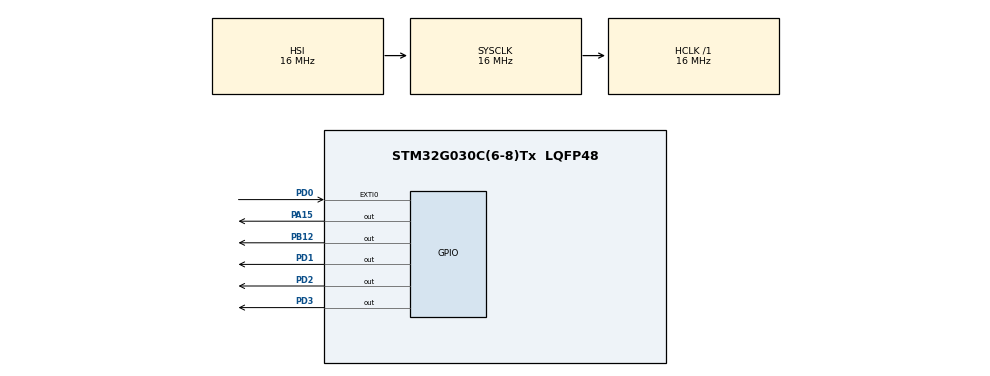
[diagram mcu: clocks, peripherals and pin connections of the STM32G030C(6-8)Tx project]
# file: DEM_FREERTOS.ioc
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FREERTOS.Tasks01=defaultTask,0,128,StartDefaultTask,Default,NULL,Dynamic,NULL,NULL;myTask02,-1,128,StartTask02,Default,NULL,Dynamic,NULL,NULL;myTask03,-1,128,StartTask03,Default,NULL,Dynamic,NULL,NULL
FREERTOS.configUSE_NEWLIB_REENTRANT=1
Mcu.Family=STM32G0
Mcu.Name=STM32G030C(6-8)Tx
Mcu.Package=LQFP48
NVIC.TIM1_BRK_UP_TRG_COM_IRQn=true\:3\:0\:false\:false\:true\:false\:false\:true\:true
NVIC.TimeBase=TIM1_BRK_UP_TRG_COM_IRQn
NVIC.TimeBaseIP=TIM1
PA13.Mode=Serial_Wire
PA13.Signal=SYS_SWDIO
PA14-BOOT0.Mode=Serial_Wire
PA14-BOOT0.Signal=SYS_SWCLK
PA15.Signal=GPIO_Output
PB12.Signal=GPIO_Output
PD0.Signal=GPXTI0
PD1.Signal=GPIO_Output
PD2.Signal=GPIO_Output
PD3.Signal=GPIO_Output
PF0-OSC_IN\ (PF0).Mode=HSE-External-Oscillator
PF0-OSC_IN\ (PF0).Signal=RCC_OSC_IN
PF1-OSC_OUT\ (PF1).Mode=HSE-External-Oscillator
PF1-OSC_OUT\ (PF1).Signal=RCC_OSC_OUT
ProjectManager.HeapSize=0x200
ProjectManager.StackSize=0x400
ProjectManager.TargetToolchain=STM32CubeIDE
RCC.AHBFreq_Value=16000000
RCC.CortexFreq_Value=16000000
RCC.EXTERNAL_CLOCK_VALUE=12288000
RCC.HCLKFreq_Value=16000000
RCC.HSE_VALUE=8000000
RCC.HSI_VALUE=16000000
RCC.LSE_VALUE=32768
RCC.SYSCLKFreq_VALUE=16000000
RCC.VCOOutputFreq_Value=128000000
VP_FREERTOS_VS_CMSIS_V1.Mode=CMSIS_V1
VP_SYS_VS_tim1.Mode=TIM1
board=custom

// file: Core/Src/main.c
/* USER CODE BEGIN Header */
/**
  ******************************************************************************
  * @file           : main.c
  * @brief          : Main program body
  ******************************************************************************
  * @attention
  *
  * Copyright (c) 2025 STMicroelectronics.
  * All rights reserved.
  *
  * This software is licensed under terms that can be found in the LICENSE file
  * in the root directory of this software component.
  * If no LICENSE file comes with this software, it is provided AS-IS.
  *
  ******************************************************************************
  */
/* USER CODE END Header */
#include "main.h"
#include "cmsis_os.h"

/* USER CODE BEGIN Includes */
#include "stdio.h"
/* USER CODE END Includes */

/* USER CODE BEGIN PD */
volatile uint8_t index_counter = 0;
/* USER CODE END PD */

osThreadId defaultTaskHandle;
osThreadId myTask02Handle;
osThreadId myTask03Handle;

void SystemClock_Config(void);
static void MX_GPIO_Init(void);
void StartDefaultTask(void const * argument);
void StartTask02(void const * argument);
void StartTask03(void const * argument);

int main(void)
{

  /* MCU Configuration--------------------------------------------------------*/

  /* Reset of all peripherals, Initializes the Flash interface and the Systick. */
  HAL_Init();

  /* Configure the system clock */
  SystemClock_Config();

  /* Initialize all configured peripherals */
  MX_GPIO_Init();

  /* Create the thread(s) */
  /* definition and creation of defaultTask */
  osThreadDef(defaultTask, StartDefaultTask, osPriorityNormal, 0, 128);
  defaultTaskHandle = osThreadCreate(osThread(defaultTask), NULL);

  /* definition and creation of myTask02 */
  osThreadDef(myTask02, StartTask02, osPriorityBelowNormal, 0, 128);
  myTask02Handle = osThreadCreate(osThread(myTask02), NULL);

  /* definition and creation of myTask03 */
  osThreadDef(myTask03, StartTask03, osPriorityBelowNormal, 0, 128);
  myTask03Handle = osThreadCreate(osThread(myTask03), NULL);

  /* Start scheduler */
  osKernelStart();

  /* We should never get here as control is now taken by the scheduler */

  /* Infinite loop */
  while (1)
  {

  }
}

void SystemClock_Config(void)
{
  RCC_OscInitTypeDef RCC_OscInitStruct = {0};
  RCC_ClkInitTypeDef RCC_ClkInitStruct = {0};

  /** Configure the main internal regulator output voltage
  */
  HAL_PWREx_ControlVoltageScaling(PWR_REGULATOR_VOLTAGE_SCALE1);

  /** Initializes the RCC Oscillators according to the specified parameters
  * in the RCC_OscInitTypeDef structure.
  */
  RCC_OscInitStruct.OscillatorType = RCC_OSCILLATORTYPE_HSI;
  RCC_OscInitStruct.HSIState = RCC_HSI_ON;
  RCC_OscInitStruct.HSIDiv = RCC_HSI_DIV1;
  RCC_OscInitStruct.HSICalibrationValue = RCC_HSICALIBRATION_DEFAULT;
  RCC_OscInitStruct.PLL.PLLState = RCC_PLL_NONE;
  if (HAL_RCC_OscConfig(&RCC_OscInitStruct) != HAL_OK)
  {
    Error_Handler();
  }

  /** Initializes the CPU, AHB and APB buses clocks
  */
  RCC_ClkInitStruct.ClockType = RCC_CLOCKTYPE_HCLK|RCC_CLOCKTYPE_SYSCLK
                              |RCC_CLOCKTYPE_PCLK1;
  RCC_ClkInitStruct.SYSCLKSource = RCC_SYSCLKSOURCE_HSI;
  RCC_ClkInitStruct.AHBCLKDivider = RCC_SYSCLK_DIV1;
  RCC_ClkInitStruct.APB1CLKDivider = RCC_HCLK_DIV1;

  if (HAL_RCC_ClockConfig(&RCC_ClkInitStruct, FLASH_LATENCY_0) != HAL_OK)
  {
    Error_Handler();
  }
}

static void MX_GPIO_Init(void)
{
  GPIO_InitTypeDef GPIO_InitStruct = {0};

  /* GPIO Ports Clock Enable */
  __HAL_RCC_GPIOF_CLK_ENABLE();
  __HAL_RCC_GPIOB_CLK_ENABLE();
  __HAL_RCC_GPIOA_CLK_ENABLE();
  __HAL_RCC_GPIOD_CLK_ENABLE();

  /*Configure GPIO pin Output Level */
  HAL_GPIO_WritePin(GPIOB, GPIO_PIN_12, GPIO_PIN_RESET);

  /*Configure GPIO pin Output Level */
  HAL_GPIO_WritePin(GPIOA, GPIO_PIN_15, GPIO_PIN_RESET);

  /*Configure GPIO pin Output Level */
  HAL_GPIO_WritePin(GPIOD, GPIO_PIN_1|GPIO_PIN_2|GPIO_PIN_3, GPIO_PIN_RESET);

  /*Configure GPIO pin : PB12 */
  GPIO_InitStruct.Pin = GPIO_PIN_12;
  GPIO_InitStruct.Mode = GPIO_MODE_OUTPUT_PP;
  GPIO_InitStruct.Pull = GPIO_NOPULL;
  GPIO_InitStruct.Speed = GPIO_SPEED_FREQ_LOW;
  HAL_GPIO_Init(GPIOB, &GPIO_InitStruct);

  /*Configure GPIO pin : PA15 */
  GPIO_InitStruct.Pin = GPIO_PIN_15;
  GPIO_InitStruct.Mode = GPIO_MODE_OUTPUT_PP;
  GPIO_InitStruct.Pull = GPIO_NOPULL;
  GPIO_InitStruct.Speed = GPIO_SPEED_FREQ_LOW;
  HAL_GPIO_Init(GPIOA, &GPIO_InitStruct);

  /*Configure GPIO pin : PD0 */
  GPIO_InitStruct.Pin = GPIO_PIN_0;
  GPIO_InitStruct.Mode = GPIO_MODE_IT_RISING;
  GPIO_InitStruct.Pull = GPIO_NOPULL;
  HAL_GPIO_Init(GPIOD, &GPIO_InitStruct);

  /*Configure GPIO pins : PD1 PD2 PD3 */
  GPIO_InitStruct.Pin = GPIO_PIN_1|GPIO_PIN_2|GPIO_PIN_3;
  GPIO_InitStruct.Mode = GPIO_MODE_OUTPUT_PP;
  GPIO_InitStruct.Pull = GPIO_NOPULL;
  GPIO_InitStruct.Speed = GPIO_SPEED_FREQ_LOW;
  HAL_GPIO_Init(GPIOD, &GPIO_InitStruct);

}

void StartDefaultTask(void const * argument)
{
  /* USER CODE BEGIN 5 */
  /* Infinite loop */
  for(;;)
  {

	  HAL_GPIO_TogglePin(GPIOD, GPIO_PIN_0 | GPIO_PIN_1 | GPIO_PIN_2);
	  index_counter++;
	  osDelay(1000);
  }
  /* USER CODE END 5 */
}

void StartTask02(void const * argument)
{
  /* USER CODE BEGIN StartTask02 */
  /* Infinite loop */
  for(;;)
  {
	  if (index_counter >= 3)
	          {
	              HAL_GPIO_TogglePin(GPIOD, GPIO_PIN_3);
	              osThreadSuspend(defaultTaskHandle);
	              osDelay(2000);
	              index_counter+=2;
	              osThreadResume(defaultTaskHandle);
	          }
  }
  /* USER CODE END StartTask02 */
}

void StartTask03(void const * argument)
{
  /* USER CODE BEGIN StartTask03 */
  /* Infinite loop */
  for(;;)
  {
	  if (index_counter >= 8)
	          {
	              HAL_GPIO_TogglePin(GPIOA, GPIO_PIN_15);
	              HAL_GPIO_WritePin(GPIOB, GPIO_PIN_12, GPIO_PIN_SET);
	              osDelay(1000);
	              HAL_GPIO_WritePin(GPIOB, GPIO_PIN_12, GPIO_PIN_RESET);
	              osThreadTerminate(defaultTaskHandle);
	              osThreadTerminate(myTask02Handle);
	              osThreadTerminate(myTask03Handle);
	          }
  }
  /* USER CODE END StartTask03 */
}

void HAL_TIM_PeriodElapsedCallback(TIM_HandleTypeDef *htim)
{
  if (htim->Instance == TIM1)
  {
    HAL_IncTick();
  }
  /* Görev Tanımlamaları */
  osThreadDef(defaultTask, StartDefaultTask, osPriorityNormal, 0, 128);
  defaultTaskHandle = osThreadCreate(osThread(defaultTask), NULL);

  osThreadDef(myTask02, StartTask02, osPriorityBelowNormal, 0, 128);
  myTask02Handle = osThreadCreate(osThread(myTask02), NULL);

  osThreadDef(myTask03, StartTask03, osPriorityBelowNormal, 0, 128);
  myTask03Handle = osThreadCreate(osThread(myTask03), NULL);

  /* StartDefaultTask Görevi */
  void StartDefaultTask(void const * argument) {
    for(;;) {
      HAL_GPIO_TogglePin(GPIOD, GPIO_PIN_0 | GPIO_PIN_1 | GPIO_PIN_2);
      index_counter++;
      osDelay(1000);
    }
  }

  /* StartTask02 Görevi */
  void StartTask02(void const * argument) {
    for(;;) {
      if (index_counter >= 3) {
        HAL_GPIO_TogglePin(GPIOD, GPIO_PIN_3);
        osThreadSuspend(defaultTaskHandle);  // İlk 3 LED'i duraklat
        osDelay(2000);
        index_counter += 2;
        osThreadResume(defaultTaskHandle);   // İlk 3 LED'i devam ettir
      }
    }
  }

  /* StartTask03 Görevi */
  void StartTask03(void const * argument) {
    for(;;) {
      if (index_counter >= 8) {
        HAL_GPIO_TogglePin(GPIOA, GPIO_PIN_15);  // 5. LED'i yak
        HAL_GPIO_WritePin(GPIOB, GPIO_PIN_12, GPIO_PIN_SET);  // Buzzerı öttür
        osDelay(1000);
        HAL_GPIO_WritePin(GPIOB, GPIO_PIN_12, GPIO_PIN_RESET);  // Buzzerı kapat
        osThreadTerminate(defaultTaskHandle);  // Tüm görevleri sonlandır
        osThreadTerminate(myTask02Handle);
        osThreadTerminate(myTask03Handle);
      }
    }
  }
